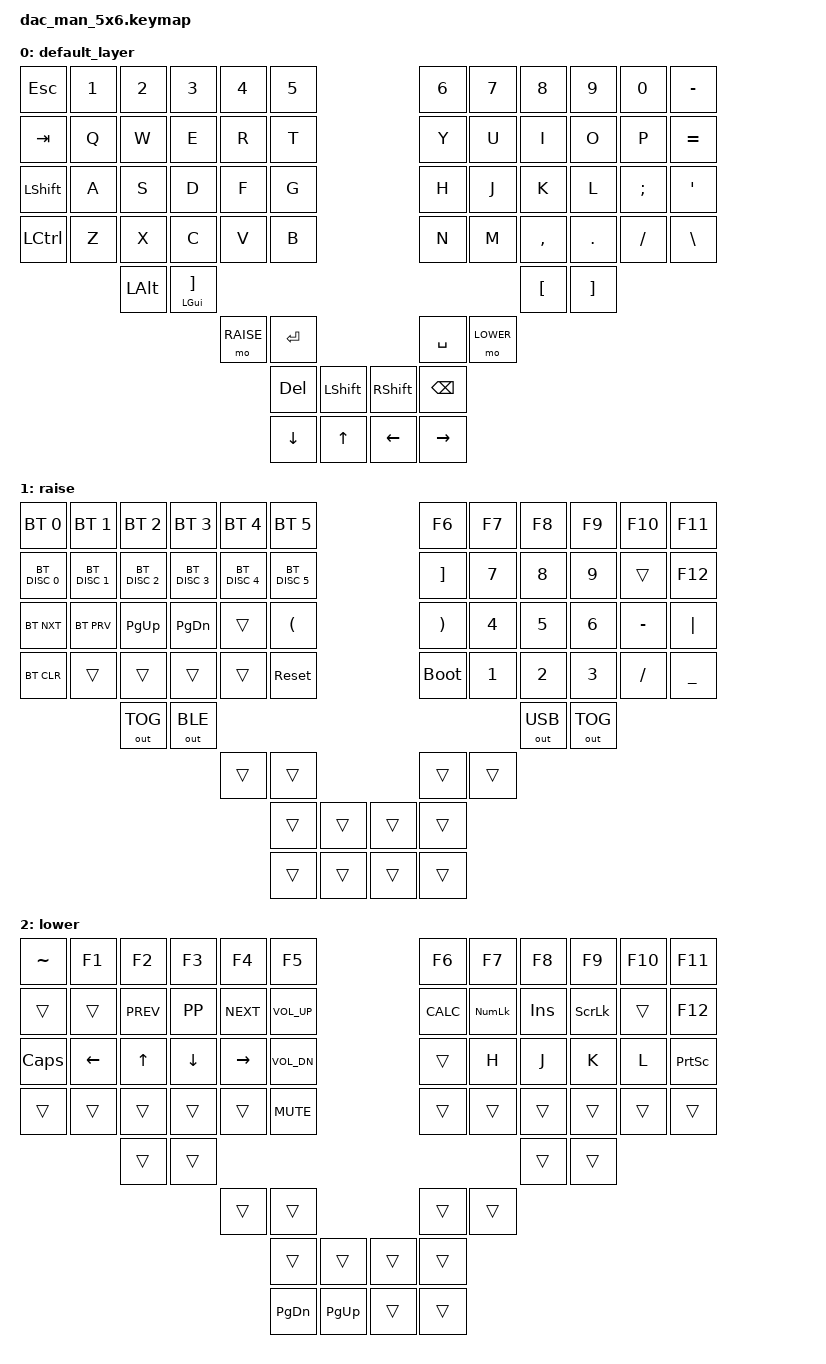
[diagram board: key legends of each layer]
#include <behaviors.dtsi>
#include <dt-bindings/zmk/bt.h>
#include <dt-bindings/zmk/keys.h>
#include <dt-bindings/zmk/outputs.h>

#define DEFAULT 0
#define RAISE   1
#define LOWER   2

/ {
    keymap {
        compatible = "zmk,keymap";

        &kscan0 {
            debounce-press-ms = <6>;
            debounce-release-ms = <7>;
        };

        default_layer {
            // Commented layout is not actual layout.
            // -------------------------------------------------------------------------------------------------------------------------
            // |   ESC   |    1    |    2    |    3    |    4    |    5    |                   |    6    |    7    |    8    |    9    |    0    |  BSPC   |
            // |   TAB   |    Q    |    W    |    E    |    R    |    T    |                   |    Y    |    U    |    I    |    O    |    P    |    \    |
            // |  LALT   |    A    |    S    |    D    |    F    |    G    |                   |    H    |    J    |    K    |    L    |    ;    |    '    |
            // |  LCTRL  |    Z    |    X    |    C    |    V    |    B    |                   |    N    |    M    |    ,    |    .    |    /    |  RALT   |
            //                     |    [    |    ]    |                                                           |    -    |    =    |
            //                               | MO lay 1| SPACE   |                   | ENTER   | MO lay 2|
            //                                         |   TAB   |   HOME  |   END   |   DEL   |
            //                                         |  Raise  |    ~    |   GUI   |  Lower  |

            bindings = <
&kp ESC         &kp N1  &kp N2        &kp N3         &kp N4     &kp N5                                  &kp N6         &kp N7     &kp N8            &kp N9             &kp N0         &kp MINUS
&kp TAB         &kp Q   &kp W         &kp E          &kp R      &kp T                                   &kp Y          &kp U      &kp I             &kp O              &kp P          &kp EQUAL
&kp LEFT_SHIFT  &kp A   &kp S         &kp D          &kp F      &kp G                                   &kp H          &kp J      &kp K             &kp L              &kp SEMICOLON  &kp SQT
&kp LCTRL       &kp Z   &kp X         &kp C          &kp V      &kp B                                   &kp N          &kp M      &kp COMMA         &kp PERIOD         &kp FSLH       &kp BACKSLASH
                        &kp LEFT_ALT  &mt LGUI RBKT                                                                               &kp LEFT_BRACKET  &kp RIGHT_BRACKET
                                                     &mo RAISE  &kp ENTER                               &kp SPACE      &mo LOWER
                                                                &kp DEL    &kp LSHIFT  &kp RIGHT_SHIFT  &kp BACKSPACE
                                                                &kp DOWN   &kp UP      &kp LEFT         &kp RIGHT
            >;
        };

        raise {
            // commented layout is not actual layout.
            // -------------------------------------------------------------------------------------------------------------------------
            // |   esc   |    1    |    2    |    3    |    4    |    5    |                   |    6    |    7    |    8    |    9    |    0    |  bspc   |
            // |   tab   |    q    |    w    |    e    |    r    |    t    |                   |    y    |    u    |    i    |    o    |    p    |    \    |
            // |  lalt   |    a    |    s    |    d    |    f    |    g    |                   |    h    |    j    |    k    |    l    |    ;    |    '    |
            // |  lctrl  |    z    |    x    |    c    |    v    |    b    |                   |    n    |    m    |    ,    |    .    |    /    |  ralt   |
            //                     |    [    |    ]    |                                                           |    -    |    =    |
            //                               | mo lay 1| space   |                   | enter   | mo lay 2|
            //                                         |   tab   |   home  |   end   |   del   |
            //                                         |  raise  |    ~    |   gui   |  lower  |

            bindings = <
&bt BT_SEL 0   &bt BT_SEL 1   &bt BT_SEL 2   &bt BT_SEL 3   &bt BT_SEL 4   &bt BT_SEL 5                   &kp F6       &kp F7  &kp F8        &kp F9        &kp F10    &kp F11
&bt BT_DISC 0  &bt BT_DISC 1  &bt BT_DISC 2  &bt BT_DISC 3  &bt BT_DISC 4  &bt BT_DISC 5                  &kp RBKT     &kp 7   &kp 8         &kp 9         &trans     &kp F12
&bt BT_NXT     &bt BT_PRV     &kp PG_UP      &kp PG_DN      &trans         &kp LPAR                       &kp RPAR     &kp 4   &kp 5         &kp 6         &kp MINUS  &kp PIPE
&bt BT_CLR     &trans         &trans         &trans         &trans         &sys_reset                     &bootloader  &kp 1   &kp 2         &kp 3         &kp FSLH   &kp UNDER
                              &out OUT_TOG   &out OUT_BLE                                                                      &out OUT_USB  &out OUT_TOG
                                                            &trans         &trans                         &trans       &trans
                                                                           &trans         &trans  &trans  &trans
                                                                           &trans         &trans  &trans  &trans
            >;
        };

        lower {
            // commented layout is not actual layout.
            // -------------------------------------------------------------------------------------------------------------------------
            // |   esc   |    1    |    2    |    3    |    4    |    5    |                   |    6    |    7    |    8    |    9    |    0    |  bspc   |
            // |   tab   |    q    |    w    |    e    |    r    |    t    |                   |    y    |    u    |    i    |    o    |    p    |    \    |
            // |  lalt   |    a    |    s    |    d    |    f    |    g    |                   |    h    |    j    |    k    |    l    |    ;    |    '    |
            // |  lctrl  |    z    |    x    |    c    |    v    |    b    |                   |    n    |    m    |    ,    |    .    |    /    |  ralt   |
            //                     |    [    |    ]    |                                                           |    -    |    =    |
            //                               | mo lay 1| space   |                   | enter   | mo lay 2|
            //                                         |   tab   |   home  |   end   |   del   |
            //                                         |  raise  |    ~    |   gui   |  lower  |

            bindings = <
&kp TILDE  &kp F1    &kp F2      &kp F3    &kp F4      &kp F5                            &kp F6      &kp F7      &kp F8   &kp F9    &kp F10  &kp F11
&trans     &trans    &kp K_PREV  &kp K_PP  &kp K_NEXT  &kp C_VOL_UP                      &kp K_CALC  &kp KP_NUM  &kp INS  &kp SLCK  &trans   &kp F12
&kp CLCK   &kp LEFT  &kp UP      &kp DOWN  &kp RIGHT   &kp C_VOL_DN                      &trans      &kp H       &kp J    &kp K     &kp L    &kp PRINTSCREEN
&trans     &trans    &trans      &trans    &trans      &kp C_MUTE                        &trans      &trans      &trans   &trans    &trans   &trans
                     &trans      &trans                                                                          &trans   &trans
                                           &trans      &trans                            &trans      &trans
                                                       &trans         &trans     &trans  &trans
                                                       &kp PAGE_DOWN  &kp PG_UP  &trans  &trans
            >;
        };
    };
};
